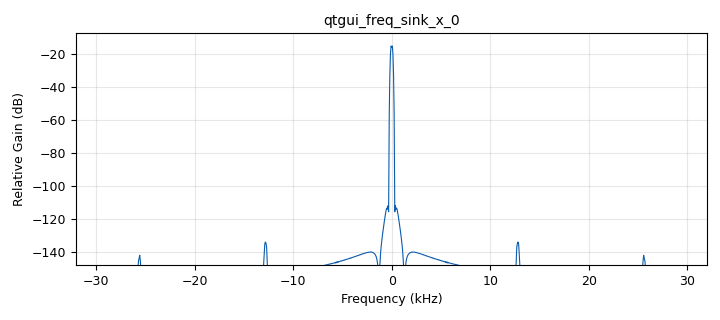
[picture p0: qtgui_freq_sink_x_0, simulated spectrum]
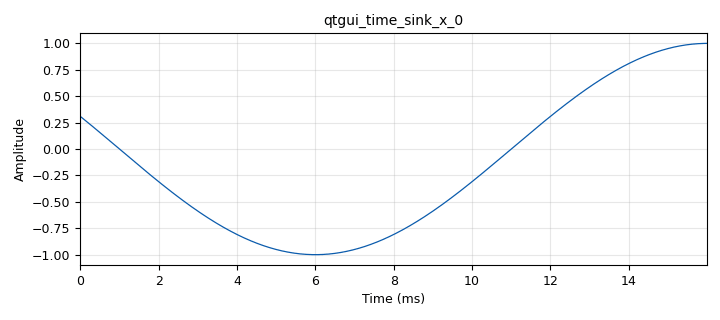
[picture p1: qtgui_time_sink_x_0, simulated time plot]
options:
  parameters:
    generate_options: qt_gui
    id: sineWaveFlowgraph
    output_language: python
    title: My First Flowgraph
  states: {}

blocks:
- name: frequency
  id: variable_qtgui_range
  parameters:
    start: '0'
    step: sample_rate/5
    stop: sample_rate
    value: '50'
  states: {}
- name: frequency
  id: variable_qtgui_chooser
  parameters:
    label0: Frequency  = 0
    label1: Frequency = 50
    label2: Frequency = 5000
    num_opts: '3'
    option0: '0'
    option1: '50'
    option2: '5000'
    type: real
    value: '0'
  states: {state: disabled}
- name: sample_rate
  id: variable
  parameters:
    value: '64000'
  states: {}
- name: analog_sig_source_x_0
  id: analog_sig_source_x
  parameters:
    amp: '1'
    freq: frequency
    offset: '0'
    phase: '0'
    samp_rate: sample_rate
    type: float
    waveform: analog.GR_SIN_WAVE
  states: {}
- name: blocks_throttle2_0
  id: blocks_throttle2
  parameters:
    samples_per_second: sample_rate
    type: float
  states: {}
- name: qtgui_freq_sink_x_0
  id: qtgui_freq_sink_x
  parameters:
    autoscale: 'True'
    average: '0.2'
    bw: sample_rate
    fc: '0'
    fftsize: '1024'
    grid: 'True'
    type: float
  states: {}
- name: qtgui_time_sink_x_0
  id: qtgui_time_sink_x
  parameters:
    autoscale: 'True'
    size: '1024'
    srate: sample_rate
    type: float
  states: {}

connections:
- [analog_sig_source_x_0, '0', blocks_throttle2_0, '0']
- [blocks_throttle2_0, '0', qtgui_freq_sink_x_0, '0']
- [blocks_throttle2_0, '0', qtgui_time_sink_x_0, '0']

metadata:
  file_format: 1
  grc_version: 3.10.7.0
